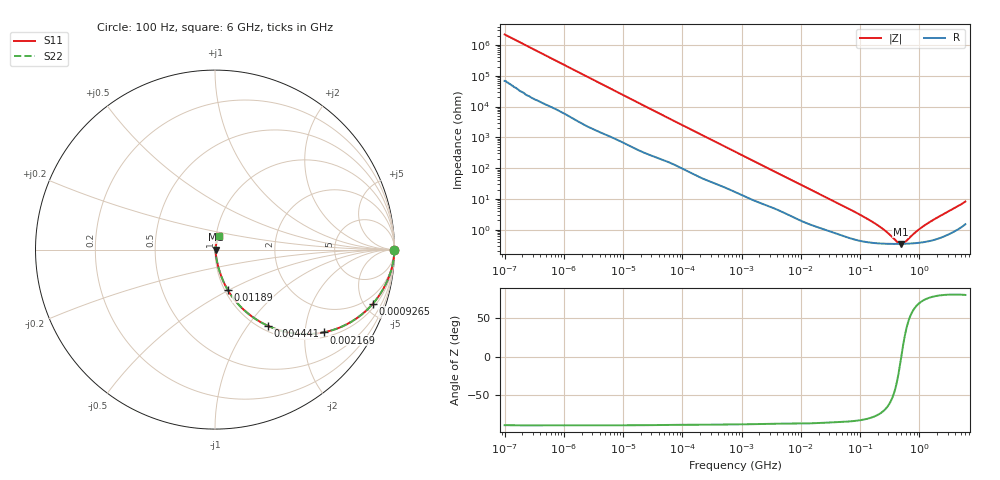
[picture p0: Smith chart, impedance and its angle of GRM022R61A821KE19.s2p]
!Murata Part Number: GRM022R61A821KE19
!These Parameters are Measured in Series Mode Connection
!Data Generated on Mar 30, 2021
!  o--ll--o
!Port1  Port2
!  o------o
!Operation Temp=25[degC], DC Bias Voltage=0[V]
!Freq. Start=100[Hz] Stop=6[GHz] 401[Steps]
# Hz S RI R 50
!Freq.(Hz) S11(Real) S11(Imag) S21(Real) S21(Imag) S12(Real) S12(Imag) S22(Real) S22(Imag)
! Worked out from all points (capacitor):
!   401 points, 100 Hz to 6 GHz, reference 50 ohm
!   read as one part in series: C = 715 pF near 109 Hz
!   lowest |Z| = 345 mohm at 488.9 MHz (marker M1)
!   series resonance near 496.9 MHz, so ESL is about 140 pH
!   S11 on the Smith chart (normalised r, x): 100 Hz: open; 926.5 kHz: 1.28, -5.71; 2.169 MHz: 1.14, -2.50; 4.441 MHz: 1.08, -1.26; 11.89 MHz: 1.03, -0.49; 6 GHz: 1.03, +0.16
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100  1 -4.52e-05  1.4e-06 4.52e-05  1.4e-06 4.52e-05  1 -4.52e-05
234  1 -0.000104  2.6e-06 0.000104  2.6e-06 0.000104  1 -0.000104
2008  1 -0.000865  2.19e-05 0.000865  2.19e-05 0.000865  1 -0.000865
40335  0.9992 -0.0165  0.000839 0.0165  0.000839 0.0165  0.9992 -0.0165
221108  0.9891 -0.0857  0.0109 0.0857  0.0109 0.0857  0.9891 -0.0857
774597  0.9095 -0.2634  0.0905 0.2634  0.0905 0.2634  0.9095 -0.2634
926525  0.8792 -0.302  0.1208 0.302  0.1208 0.302  0.8792 -0.302
2169299  0.605 -0.4613  0.395 0.4613  0.395 0.4613  0.605 -0.4613
4440638  0.2961 -0.4253  0.7039 0.4253  0.7039 0.4253  0.2961 -0.4253
7266822  0.1497 -0.3252  0.8503 0.3252  0.8503 0.3252  0.1497 -0.3252
1.189169e7  0.0701 -0.223  0.9299 0.223  0.9299 0.223  0.0701 -0.223
1.555665e7  0.0464 -0.1768  0.9536 0.1768  0.9536 0.1768  0.0464 -0.1768
3.80911e7  0.0137 -0.0777  0.9863 0.0777  0.9863 0.0777  0.0137 -0.0777
1.220122e8  0.00456 -0.0241  0.9954 0.0241  0.9954 0.0241  0.00456 -0.0241
2.088084e8  0.0037 -0.0124  0.9963 0.0124  0.9963 0.0124  0.0037 -0.0124
3.124326e8  0.00347 -0.0061  0.9965 0.0061  0.9965 0.0061  0.00347 -0.0061
4.274388e8  0.00342 -0.00192  0.9966 0.00192  0.9966 0.00192  0.00342 -0.00192
4.888888e8  0.00343 -0.000204  0.9966 0.000204  0.9966 0.000204  0.00343 -0.000204
5.847788e8  0.00346 0.00208  0.9965 -0.00208  0.9965 -0.00208  0.00346 0.00208
9.150511e8  0.00372 0.00823  0.9963 -0.00823  0.9963 -0.00823  0.00372 0.00823
1.369159e9  0.00431 0.0151  0.9957 -0.0151  0.9957 -0.0151  0.00431 0.0151
6e9  0.0209 0.0775  0.9791 -0.0775  0.9791 -0.0775  0.0209 0.0775
